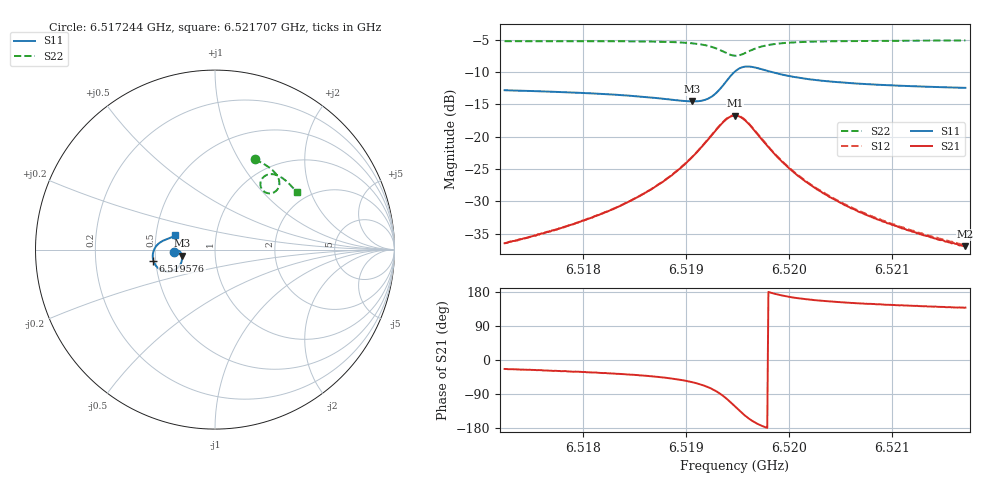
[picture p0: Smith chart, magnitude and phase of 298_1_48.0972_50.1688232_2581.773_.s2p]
#  HZ  S  RI  R  50.00
! Rohde & Schwarz Vector Network Analyzer
! Rohde-Schwarz,ZNB20-2Port,1311601062101988,3.16
! Created: UTC 12/23/2023, 4:04:28 AM
! freq[Hz]  re:S11  im:S11  re:S21  im:S21  re:S12  im:S12  re:S22  im:S22
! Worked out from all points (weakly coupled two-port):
!   401 points, 6.517244 GHz to 6.521707 GHz, reference 50 ohm
!   highest |S21| = -16.71 dB at 6.519476 GHz (marker M1); lowest = -36.9 dB at 6.521707 GHz (marker M2)
!   lowest |S11| = -14.5 dB at 6.519063 GHz (marker M3), VSWR 1.46, Z = 34.3 - j2.36 ohm
!   |S11| at or under -10 dB: start of sweep to 6.519469 GHz; 6.519835 GHz to end of sweep
!   |S22| runs from -7.5 to -5.1 dB; largest |S21 - S12| = 0.0046
!   S11 on the Smith chart (normalised r, x): 6.517244 GHz: 0.63, -0.02; 6.519576 GHz: 0.49, -0.07; 6.521707 GHz: 0.63, +0.11
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6.5172444e9  -0.2289 -0.0118  0.0138 -0.00602  0.0139 -0.00557  0.2205 0.5025
6.5176014e9  -0.2244 -0.00693  0.016 -0.00806  0.0161 -0.00769  0.2467 0.4904
6.5179919e9  -0.2184 -0.00294  0.0191 -0.0117  0.0193 -0.0111  0.2755 0.4748
6.5183712e9  -0.2101 -0.00172  0.0234 -0.0176  0.0241 -0.0171  0.304 0.4558
6.5187394e9  -0.1982 -0.00767  0.0303 -0.0304  0.0314 -0.0295  0.3328 0.4301
6.5188844e9  -0.192 -0.0149  0.0338 -0.0397  0.0351 -0.039  0.3441 0.4157
6.5190629e9  -0.1848 -0.0332  0.0363 -0.0596  0.0383 -0.0588  0.3561 0.3903
6.5191633e9  -0.1836 -0.0522  0.034 -0.078  0.0367 -0.0776  0.3589 0.3697
6.5192525e9  -0.1901 -0.077  0.0243 -0.1005  0.0275 -0.1005  0.3541 0.3465
6.5193083e9  -0.2024 -0.0959  0.0104 -0.1162  0.014 -0.117  0.3441 0.3309
6.5193864e9  -0.2376 -0.1185  -0.0243 -0.1333  -0.0206 -0.135  0.3166 0.3145
6.5194757e9  -0.2988 -0.1143  -0.0786 -0.123  -0.0758 -0.1263  0.2741 0.323
6.5195203e9  -0.3251 -0.0946  -0.0998 -0.1028  -0.0977 -0.1066  0.259 0.3406
6.5195761e9  -0.3437 -0.0614  -0.1124 -0.0718  -0.1113 -0.0755  0.2528 0.3665
6.5196876e9  -0.3408 -0.00373  -0.1036 -0.0227  -0.104 -0.0259  0.2703 0.4044
6.5197992e9  -0.3208 0.027  -0.0831 0.000536  -0.0838 -0.00196  0.2966 0.4184
6.5199888e9  -0.2921 0.0482  -0.0566 0.0129  -0.0576 0.0113  0.3312 0.4185
6.5202231e9  -0.2707 0.0575  -0.0387 0.015  -0.0396 0.0141  0.3601 0.4076
6.5205801e9  -0.2524 0.0643  -0.025 0.0138  -0.0258 0.0134  0.3909 0.3871
6.5209706e9  -0.2404 0.0697  -0.0175 0.012  -0.0181 0.0116  0.4168 0.3636
6.5212829e9  -0.2332 0.074  -0.0138 0.0108  -0.0145 0.0106  0.4344 0.3445
6.5217069e9  -0.2254 0.0796  -0.0106 0.00949  -0.011 0.00941  0.4559 0.3182
